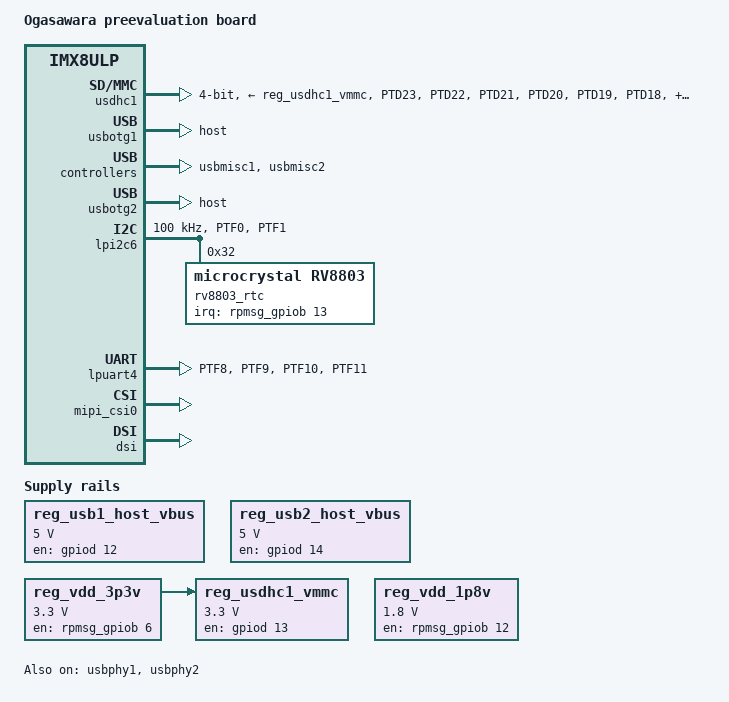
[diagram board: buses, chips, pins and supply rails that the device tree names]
// SPDX-License-Identifier: (GPL-2.0 OR MIT)
/*
 * Copyright (C) 2021 Atmark Techno, Inc. All Rights Reserved.
 */

/dts-v1/;

#include "armadillo-900.dtsi"

/{
	model = "Ogasawara preevaluation board";
	compatible = "atmark,ogasawara", "fsl,imx8ulp";

	aliases {
		rtc0 = &rv8803_rtc;
	};

	chosen {
		stdout-path = &lpuart4;
		//stdout-path2 = &rpmsg_gpioa; // lpuart0 uses rpmsg
	};

	reg_usdhc1_vmmc: regulator-usdhc1 {
		compatible = "regulator-fixed";
		pinctrl-names = "default";
		pinctrl-0 = <&pinctrl_reg_usdhc1_vmmc>;
		regulator-name = "VSD_3V3";
		regulator-min-microvolt = <3300000>;
		regulator-max-microvolt = <3300000>;
		gpio = <&gpiod 13 GPIO_ACTIVE_HIGH>;
		vin-supply = <&reg_vdd_3p3v>;
		enable-active-high;
		regulator-always-on;
		off-on-delay-us = <100000>;
	};

	reg_usb1_host_vbus: regulator-usb1-vbus {
		compatible = "regulator-fixed";
		regulator-name = "usb1_host_vbus";
		pinctrl-names = "default";
		pinctrl-0 = <&pinctrl_usb1_vbus>;
		regulator-min-microvolt = <5000000>;// 5v??
		regulator-max-microvolt = <5000000>;
		gpio = <&gpiod 12 GPIO_ACTIVE_HIGH>;
		enable-active-high;
		regulator-always-on;
	};

	reg_usb2_host_vbus: regulator-usb2-vbus {
		compatible = "regulator-fixed";
		regulator-name = "usb2_host_vbus";
		pinctrl-names = "default";
		pinctrl-0 = <&pinctrl_usb2_vbus>;
		regulator-min-microvolt = <5000000>;// 5v??
		regulator-max-microvolt = <5000000>;
		gpio = <&gpiod 14 GPIO_ACTIVE_HIGH>;
		enable-active-high;
		regulator-always-on;
	};

	//VIN Monitor
	vin_monitor: vin-monitor { // what is the user for vin monitor??
		interrupt-parent = <&rpmsg_gpioa>; //considered as interrupt?
		interrupts = <24 GPIO_ACTIVE_HIGH>; //active high/low?
	};

	// POWER
	reg_vdd_3p3v: regulator-vdd-3p3v {
		compatible = "regulator-fixed";
		gpio = <&rpmsg_gpiob 6 GPIO_ACTIVE_HIGH>;
		regulator-name = "VDD_3P3V";
		regulator-min-microvolt = <3300000>;
		regulator-max-microvolt = <3300000>;
		enable-active-high;
		regulator-always-on;
	};

	reg_vdd_1p8v: regulator-vdd-1p8v {
		compatible = "regulator-fixed";
		gpio = <&rpmsg_gpiob 12 GPIO_ACTIVE_HIGH>;
		regulator-name = "VDD_1P8V";
		regulator-min-microvolt = <1800000>;
		regulator-max-microvolt = <1800000>;
		enable-active-high;
		regulator-always-on;
	};

};

// SD card
&usdhc1 {
	pinctrl-names = "default", "state_100mhz", "state_200mhz", "sleep";
	pinctrl-0 = <&pinctrl_usdhc1>, <&pinctrl_usdhc1_gpio>;
	pinctrl-1 = <&pinctrl_usdhc1>, <&pinctrl_usdhc1_gpio>;
	pinctrl-2 = <&pinctrl_usdhc1>, <&pinctrl_usdhc1_gpio>;
	pinctrl-3 = <&pinctrl_usdhc1>, <&pinctrl_usdhc1_gpio>;
	cd-gpios = <&gpiod 16 GPIO_ACTIVE_LOW>;
	vmmc-supply = <&reg_usdhc1_vmmc>;
	bus-width = <4>;
	status = "okay";
};

// USB
&usbotg1 {
	dr_mode = "host";
	status = "okay";
};

&usbmisc1 {
	status = "okay";
};

&usbphy1 {
	status = "okay";
};

&usbotg2 {
	dr_mode = "host";
	status = "okay";
};

&usbmisc2 {
	status = "okay";
};

&usbphy2 {
	status = "okay";
};

//RTC
&lpi2c6 {
	clock-frequency = <100000>;
	pinctrl-names = "default";
	pinctrl-0 = <&pinctrl_lpi2c6>;
	status = "okay";

	rv8803_rtc: rtc@32 {
		compatible = "microcrystal,rv8803";
		reg = <0x32>;
		interrupt-parent = <&rpmsg_gpiob>; // rpmsg で渡す
		interrupts = <13 GPIO_ACTIVE_LOW>;
		wakeup-source;
	};
};

// USB serial
&lpuart4 {
	pinctrl-names = "default", "sleep";
	pinctrl-0 = <&pinctrl_lpuart4>;
	pinctrl-1 = <&pinctrl_lpuart4>;
	status = "okay";
};

&iomuxc1 {
//gpio
	pinctrl-names = "default";
	pinctrl-0 = <&pinctrl_customize>;

	pinctrl_customize: customizegrp {
		/* add all other pin here*/
	};

	pinctrl_reg_usdhc1_vmmc: regusdhc1vmmcgrp {
		fsl,pins = <
			MX8ULP_PAD_PTD13__PTD13		0x3
		>;
	};

	pinctrl_usdhc1_gpio: usdhc1grp-gpio {
		fsl,pins = <
			MX8ULP_PAD_PTD16__SDHC1_CD	0x3
		>;
	};

	pinctrl_usdhc1: usdhc1grp {
		fsl,pins = <
			MX8ULP_PAD_PTD23__SDHC1_CMD	0x3
			MX8ULP_PAD_PTD22__SDHC1_CLK	0x10002
			MX8ULP_PAD_PTD21__SDHC1_D0	0x3
			MX8ULP_PAD_PTD20__SDHC1_D1	0x3
			MX8ULP_PAD_PTD19__SDHC1_D2	0x3
			MX8ULP_PAD_PTD18__SDHC1_D3	0x3
			MX8ULP_PAD_PTD15__SDHC1_VS	0x3
		>;
	};

	pinctrl_usb1_vbus: usb1grp {
		fsl,pins = <
			MX8ULP_PAD_PTD12__PTD12	0x3
		>;
	};

	pinctrl_usb2_vbus: usb2grp {
		fsl,pins = <
			MX8ULP_PAD_PTD14__PTD14	0x3
		>;
	};

	pinctrl_lpi2c6: i2c6grp {
		fsl,pins = <
			MX8ULP_PAD_PTF0__LPI2C6_SCL	0x20
			MX8ULP_PAD_PTF1__LPI2C6_SDA	0x20
		>;
	};

	pinctrl_lpuart4: lpuart4grp {
		fsl,pins = <
			MX8ULP_PAD_PTF8__LPUART4_CTS_B	0x3
			MX8ULP_PAD_PTF9__LPUART4_RTS_B	0x3
			MX8ULP_PAD_PTF10__LPUART4_TX	0x3
			MX8ULP_PAD_PTF11__LPUART4_RX	0x3
		>;
	};
};

//MIPI
&mipi_csi0 {
	status = "okay";
};

&dsi {
	status = "okay";
};
